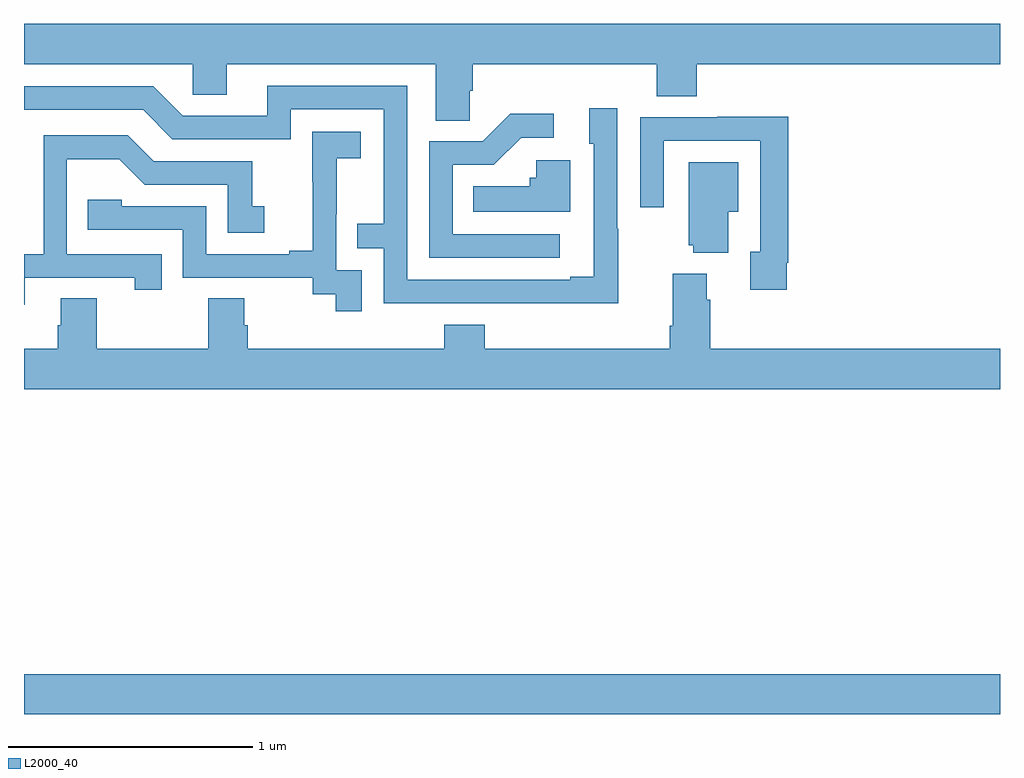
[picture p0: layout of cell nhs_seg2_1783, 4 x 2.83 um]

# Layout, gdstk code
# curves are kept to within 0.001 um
import gdstk
lib = gdstk.Library(unit=1e-6, precision=1e-09)
def R(c, l, rs):  # rectangles x0, y0, x1, y1
    for r in rs: c.add(gdstk.rectangle(r[:2], r[2:], *l))
def P(c, l, *ps):  # polygons
    for p in ps: c.add(gdstk.Polygon(p, *l))
L2000_40 = (2000, 40)

nhs_seg2_1783 = lib.new_cell('nhs_seg2_1783')
R(nhs_seg2_1783, L2000_40, [(205,598.352,209,598.516)])
P(nhs_seg2_1783, L2000_40, [(206.826,600.907),(206.84,600.907),(206.84,601.016),(207.593,601.016),(207.593,600.883),(207.758,600.883),(207.758,601.016),(209,601.016),(209,601.18),(205,601.18),(205,601.016),(205.692,601.016),(205.692,600.889),(205.831,600.889),(205.831,601.016),(206.687,601.016),(206.687,600.784),(206.826,600.784)],
  [(207.435,600.341),(207.432,600.341),(207.432,600.835),(207.317,600.835),(207.317,600.69),(207.336,600.69),(207.336,600.145),(207.239,600.145),(207.239,600.132),(206.571,600.132),(206.571,600.927),(205.997,600.927),(205.997,600.804),(205.65,600.804),(205.53,600.924),(205,600.924),(205,600.828),(205.488,600.828),(205.608,600.708),(206.094,600.708),(206.094,600.831),(206.475,600.831),(206.475,600.362),(206.365,600.362),(206.365,600.261),(206.475,600.261),(206.475,600.036),(207.435,600.035)],
  [(207.196,600.318),(206.757,600.318),(206.757,600.603),(206.926,600.603),(207.037,600.714),(207.172,600.714),(207.172,600.812),(206.993,600.812),(206.88,600.699),(206.661,600.699),(206.661,600.222),(207.196,600.222)],
  [(208.126,600.202),(208.133,600.202),(208.133,600.8),(207.841,600.8),(207.841,600.798),(207.525,600.798),(207.525,600.429),(207.621,600.429),(207.621,600.702),(208.017,600.702),(208.017,600.246),(207.977,600.246),(207.977,600.09),(208.126,600.09)],
  [(206.385,600.171),(206.28,600.171),(206.28,600.401),(206.282,600.401),(206.282,600.629),(206.38,600.629),(206.38,600.739),(206.182,600.739),(206.182,600.533),(206.183,600.533),(206.183,600.25),(206.087,600.25),(206.087,600.237),(205.746,600.237),(205.746,600.432),(205.401,600.432),(205.401,600.459),(205.261,600.459),(205.261,600.336),(205.65,600.336),(205.65,600.141),(206.184,600.141),(206.184,600.073),(206.277,600.073),(206.277,600.003),(206.385,600.003)],
  [(205.003,600.141),(205.454,600.141),(205.454,600.09),(205.565,600.09),(205.565,600.237),(205.176,600.237),(205.176,600.626),(205.39,600.626),(205.494,600.522),(205.836,600.522),(205.836,600.324),(205.984,600.324),(205.984,600.433),(205.935,600.433),(205.935,600.618),(205.531,600.618),(205.426,600.723),(205.08,600.723),(205.08,600.237),(205,600.237),(205,600.03),(205.003,600.03)],
  [(207.238,600.622),(207.099,600.622),(207.099,600.549),(207.073,600.549),(207.073,600.514),(206.842,600.514),(206.842,600.41),(207.238,600.41)],
  [(207.886,600.41),(207.928,600.41),(207.928,600.613),(207.725,600.613),(207.725,600.273),(207.743,600.273),(207.743,600.242),(207.886,600.242)],
  [(209,599.848),(207.812,599.848),(207.812,600.05),(207.799,600.05),(207.799,600.157),(207.659,600.157),(207.659,599.944),(207.647,599.944),(207.647,599.848),(206.888,599.848),(206.888,599.947),(206.723,599.947),(206.723,599.848),(205.916,599.848),(205.916,599.946),(205.903,599.946),(205.903,600.056),(205.756,600.056),(205.756,599.848),(205.299,599.848),(205.299,600.056),(205.151,600.056),(205.151,599.946),(205.139,599.946),(205.139,599.848),(205,599.848),(205,599.684),(209,599.684)])

lib.write_gds('nhs_seg2_1783.gds')
